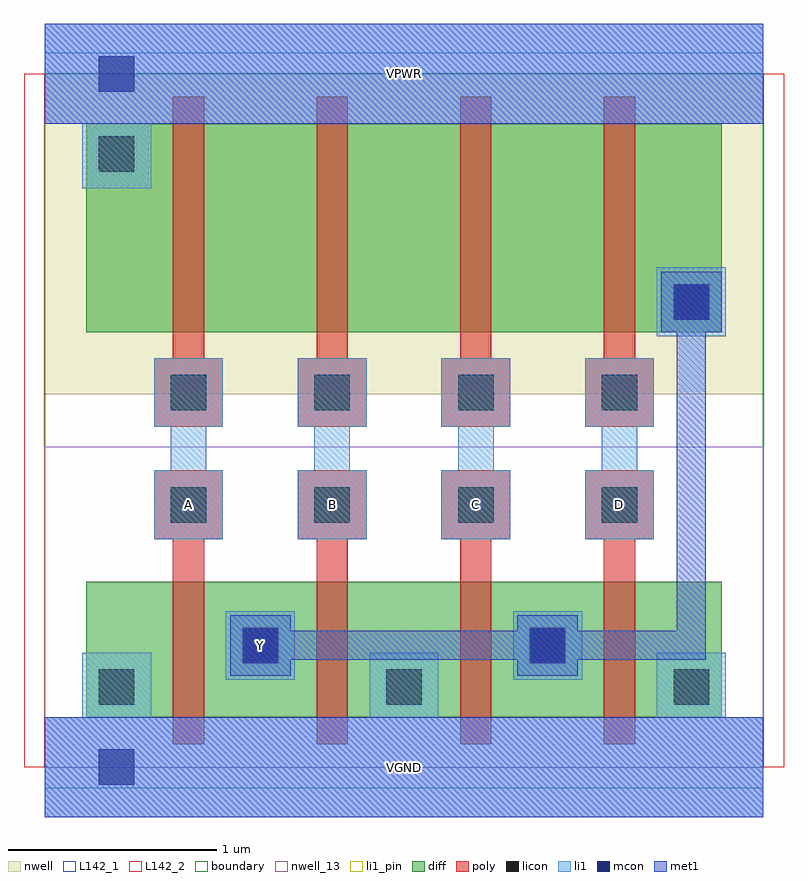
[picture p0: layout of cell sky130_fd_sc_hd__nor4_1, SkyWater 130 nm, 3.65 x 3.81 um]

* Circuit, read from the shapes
.subckt sky130_fd_sc_hd__nor4_1 A B C D VGND VPWR Y
XM1 Y A VGND VSUBS sky130_fd_pr__nfet_01v8 w=0.65 l=0.15
XM2 VGND B Y VSUBS sky130_fd_pr__nfet_01v8 w=0.65 l=0.15
XM3 Y C VGND VSUBS sky130_fd_pr__nfet_01v8 w=0.65 l=0.15
XM4 VGND D Y VSUBS sky130_fd_pr__nfet_01v8 w=0.65 l=0.15
XM5 n1 A VPWR n2 sky130_fd_pr__pfet_01v8 w=1 l=0.15
XM6 n3 B n1 n2 sky130_fd_pr__pfet_01v8 w=1 l=0.15
XM7 n4 C n3 n2 sky130_fd_pr__pfet_01v8 w=1 l=0.15
XM8 Y D n4 n2 sky130_fd_pr__pfet_01v8 w=1 l=0.15
.ends

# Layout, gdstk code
import gdstk
lib = gdstk.Library(unit=1e-6, precision=1e-09)
def R(c, l, rs):  # rectangles x0, y0, x1, y1
    for r in rs: c.add(gdstk.rectangle(r[:2], r[2:], *l))
def A(c, l, x, y, w, h, nx, ny, dx, dy):  # array of equal rectangles
    R(c, l, [(x+i*dx, y+j*dy, x+i*dx+w, y+j*dy+h) for i in range(nx) for j in range(ny)])
def P(c, l, *ps):  # polygons
    for p in ps: c.add(gdstk.Polygon(p, *l))
nwell_13 = (64, 13)
nwell = (64, 20)
diff = (65, 20)
poly = (66, 20)
licon = (66, 44)
li1_pin = (67, 16)
li1 = (67, 20)
mcon = (67, 44)
met1 = (68, 20)
L142_1 = (142, 1)
L142_2 = (142, 2)
boundary = (235, 4)

sky130_fd_sc_hd__nor4_1 = lib.new_cell('sky130_fd_sc_hd__nor4_1')
R(sky130_fd_sc_hd__nor4_1, nwell_13, [(0,0,3.45,1.54)])
R(sky130_fd_sc_hd__nor4_1, nwell, [(0,1.79,3.45,3.33)])
A(sky130_fd_sc_hd__nor4_1, diff, 0.615, 0.24, 0.69, 0.65, 3, 1, 0.69, 0)
A(sky130_fd_sc_hd__nor4_1, diff, 0.615, 2.09, 0.69, 1, 3, 1, 0.69, 0)
R(sky130_fd_sc_hd__nor4_1, diff, [(0.2,0.24,3.25,0.89), (0.2,0.24,0.615,0.89), (2.685,0.24,3.25,0.89), (0.2,2.09,3.25,3.09), (0.2,2.09,0.615,3.09), (2.685,2.09,3.25,3.09)])
P(sky130_fd_sc_hd__nor4_1, poly, [(1.305,0.11),(1.305,1.095),(1.215,1.095),(1.215,1.425),(1.545,1.425),(1.545,1.095),(1.455,1.095),(1.455,0.11)],
  [(1.215,1.635),(1.215,1.965),(1.305,1.965),(1.305,3.22),(1.455,3.22),(1.455,1.965),(1.545,1.965),(1.545,1.635)],
  [(2.685,0.11),(2.685,1.095),(2.595,1.095),(2.595,1.425),(2.925,1.425),(2.925,1.095),(2.835,1.095),(2.835,0.11)],
  [(2.595,1.635),(2.595,1.965),(2.685,1.965),(2.685,3.22),(2.835,3.22),(2.835,1.965),(2.925,1.965),(2.925,1.635)],
  [(1.995,0.11),(1.995,1.095),(1.905,1.095),(1.905,1.425),(2.235,1.425),(2.235,1.095),(2.145,1.095),(2.145,0.11)],
  [(1.905,1.635),(1.905,1.965),(1.995,1.965),(1.995,3.22),(2.145,3.22),(2.145,1.965),(2.235,1.965),(2.235,1.635)],
  [(0.615,0.11),(0.615,1.095),(0.525,1.095),(0.525,1.425),(0.855,1.425),(0.855,1.095),(0.765,1.095),(0.765,0.11)],
  [(0.525,1.635),(0.525,1.965),(0.615,1.965),(0.615,3.22),(0.765,3.22),(0.765,1.965),(0.855,1.965),(0.855,1.635)])
A(sky130_fd_sc_hd__nor4_1, licon, 0.26, 0.3, 0.17, 0.17, 3, 1, 1.38, 0)
A(sky130_fd_sc_hd__nor4_1, licon, 0.605, 1.175, 0.17, 0.17, 4, 2, 0.69, 0.54)
R(sky130_fd_sc_hd__nor4_1, licon, [(0.95,0.5,1.12,0.67), (2.33,0.5,2.5,0.67), (3.02,2.15,3.19,2.32), (0.26,2.86,0.43,3.03)])
R(sky130_fd_sc_hd__nor4_1, li1_pin, [(0,-0.24,3.45,0.24), (0.87,0.42,1.2,0.75), (0,3.09,3.45,3.57)])
P(sky130_fd_sc_hd__nor4_1, li1_pin, [(0.525,1.095),(0.525,1.425),(0.605,1.425),(0.605,1.635),(0.525,1.635),(0.525,1.965),(0.855,1.965),(0.855,1.635),(0.775,1.635),(0.775,1.425),(0.855,1.425),(0.855,1.095)],
  [(2.595,1.095),(2.595,1.425),(2.675,1.425),(2.675,1.635),(2.595,1.635),(2.595,1.965),(2.925,1.965),(2.925,1.635),(2.845,1.635),(2.845,1.425),(2.925,1.425),(2.925,1.095)],
  [(1.215,1.095),(1.215,1.425),(1.295,1.425),(1.295,1.635),(1.215,1.635),(1.215,1.965),(1.545,1.965),(1.545,1.635),(1.465,1.635),(1.465,1.425),(1.545,1.425),(1.545,1.095)],
  [(1.905,1.095),(1.905,1.425),(1.985,1.425),(1.985,1.635),(1.905,1.635),(1.905,1.965),(2.235,1.965),(2.235,1.635),(2.155,1.635),(2.155,1.425),(2.235,1.425),(2.235,1.095)])
R(sky130_fd_sc_hd__nor4_1, li1, [(0.87,0.42,1.2,0.75), (2.25,0.42,2.58,0.75), (2.94,2.07,3.27,2.4)])
P(sky130_fd_sc_hd__nor4_1, li1, [(1.215,1.095),(1.215,1.425),(1.295,1.425),(1.295,1.635),(1.215,1.635),(1.215,1.965),(1.545,1.965),(1.545,1.635),(1.465,1.635),(1.465,1.425),(1.545,1.425),(1.545,1.095)],
  [(2.595,1.095),(2.595,1.425),(2.675,1.425),(2.675,1.635),(2.595,1.635),(2.595,1.965),(2.925,1.965),(2.925,1.635),(2.845,1.635),(2.845,1.425),(2.925,1.425),(2.925,1.095)],
  [(0.18,2.78),(0.18,3.09),(0,3.09),(0,3.57),(3.45,3.57),(3.45,3.09),(0.51,3.09),(0.51,2.78)],
  [(1.905,1.095),(1.905,1.425),(1.985,1.425),(1.985,1.635),(1.905,1.635),(1.905,1.965),(2.235,1.965),(2.235,1.635),(2.155,1.635),(2.155,1.425),(2.235,1.425),(2.235,1.095)],
  [(0,-0.24),(0,0.24),(0.18,0.24),(0.18,0.55),(0.51,0.55),(0.51,0.24),(1.56,0.24),(1.56,0.55),(1.89,0.55),(1.89,0.24),(2.94,0.24),(2.94,0.55),(3.27,0.55),(3.27,0.24),(3.45,0.24),(3.45,-0.24)],
  [(0.525,1.095),(0.525,1.425),(0.605,1.425),(0.605,1.635),(0.525,1.635),(0.525,1.965),(0.855,1.965),(0.855,1.635),(0.775,1.635),(0.775,1.425),(0.855,1.425),(0.855,1.095)])
R(sky130_fd_sc_hd__nor4_1, mcon, [(0.26,-0.085,0.43,0.085), (0.95,0.5,1.12,0.67), (2.33,0.5,2.5,0.67), (3.02,2.15,3.19,2.32), (0.26,3.245,0.43,3.415)])
R(sky130_fd_sc_hd__nor4_1, met1, [(0,-0.24,3.45,0.24), (0,3.09,3.45,3.57)])
P(sky130_fd_sc_hd__nor4_1, met1, [(0.89,0.44),(0.89,0.73),(1.18,0.73),(1.18,0.655),(2.27,0.655),(2.27,0.73),(2.56,0.73),(2.56,0.655),(3.035,0.655),(3.035,2.09),(2.96,2.09),(2.96,2.38),(3.25,2.38),(3.25,2.09),(3.175,2.09),(3.175,0.515),(2.56,0.515),(2.56,0.44),(2.27,0.44),(2.27,0.515),(1.18,0.515),(1.18,0.44)])
R(sky130_fd_sc_hd__nor4_1, L142_1, [(0,-0.1,3.45,0), (0,3.33,3.45,3.43)])
R(sky130_fd_sc_hd__nor4_1, L142_2, [(-0.1,0,0,3.33), (3.45,0,3.55,3.33)])
R(sky130_fd_sc_hd__nor4_1, boundary, [(0,0,3.45,3.33)])
sky130_fd_sc_hd__nor4_1.add(gdstk.Label('Y', (1.035,0.585), layer=67, texttype=5))
sky130_fd_sc_hd__nor4_1.add(gdstk.Label('A', (0.69,1.26), layer=67, texttype=5))
sky130_fd_sc_hd__nor4_1.add(gdstk.Label('D', (2.76,1.26), layer=67, texttype=5))
sky130_fd_sc_hd__nor4_1.add(gdstk.Label('B', (1.38,1.26), layer=67, texttype=5))
sky130_fd_sc_hd__nor4_1.add(gdstk.Label('C', (2.07,1.26), layer=67, texttype=5))
sky130_fd_sc_hd__nor4_1.add(gdstk.Label('VGND', (1.725,0), layer=67, texttype=5))
sky130_fd_sc_hd__nor4_1.add(gdstk.Label('VPWR', (1.725,3.33), layer=67, texttype=5))
sky130_fd_sc_hd__nor4_1.add(gdstk.Label('VGND', (1.725,0), layer=68, texttype=5))
sky130_fd_sc_hd__nor4_1.add(gdstk.Label('VPWR', (1.725,3.33), layer=68, texttype=5))

lib.write_gds('sky130_fd_sc_hd__nor4_1.gds')
